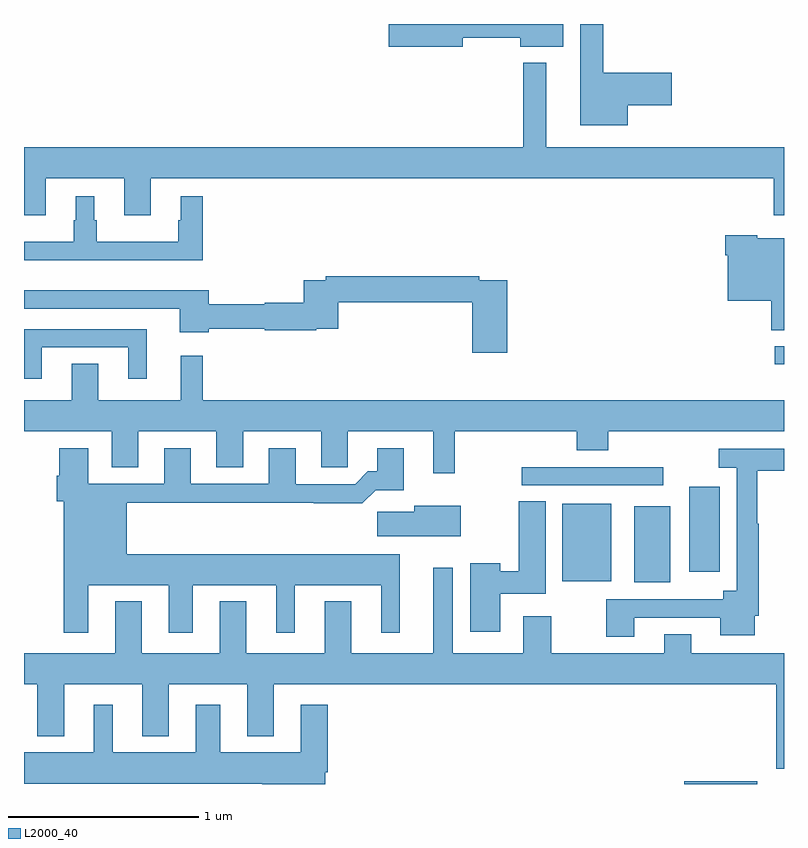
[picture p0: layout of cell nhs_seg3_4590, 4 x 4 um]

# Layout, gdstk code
import gdstk
lib = gdstk.Library(unit=1e-6, precision=1e-09)
def R(c, l, rs):  # rectangles x0, y0, x1, y1
    for r in rs: c.add(gdstk.rectangle(r[:2], r[2:], *l))
def P(c, l, *ps):  # polygons
    for p in ps: c.add(gdstk.Polygon(p, *l))
L2000_40 = (2000, 40)

nhs_seg3_4590 = lib.new_cell('nhs_seg3_4590')
R(nhs_seg3_4590, L2000_40, [(360.474,692.4,360.858,692.414), (360.212,693.461,360.4,693.862), (359.834,693.467,360.091,693.874), (360.5,693.516,360.661,693.964), (359.619,693.972,360.364,694.068), (360.951,694.608,361,694.704)])
P(nhs_seg3_4590, L2000_40, [(360.178,695.972),(360.409,695.972),(360.409,696.143),(360.049,696.143),(360.049,696.4),(359.927,696.4),(359.927,695.867),(360.178,695.867)],
  [(359.308,696.328),(359.612,696.328),(359.612,696.281),(359.839,696.281),(359.839,696.4),(358.92,696.4),(358.92,696.281),(359.308,696.281)],
  [(357.115,695.588),(357.527,695.588),(357.527,695.394),(357.667,695.394),(357.667,695.588),(360.947,695.588),(360.947,695.394),(361,695.394),(361,695.752),(359.749,695.752),(359.749,696.196),(359.628,696.196),(359.628,695.752),(357,695.752),(357,695.394),(357.115,695.394)],
  [(357.941,695.494),(357.824,695.494),(357.824,695.366),(357.813,695.366),(357.813,695.254),(357.382,695.254),(357.382,695.366),(357.37,695.366),(357.37,695.494),(357.272,695.494),(357.272,695.366),(357.261,695.366),(357.261,695.254),(357,695.254),(357,695.156),(357.941,695.156)],
  [(361,695.272),(360.858,695.272),(360.858,695.287),(360.692,695.287),(360.692,695.183),(360.704,695.183),(360.704,694.943),(360.932,694.943),(360.932,694.789),(361,694.789)],
  [(359.543,695.052),(359.396,695.052),(359.396,695.072),(358.588,695.072),(358.588,695.052),(358.472,695.052),(358.472,694.933),(358.266,694.933),(358.266,694.925),(357.972,694.925),(357.972,694.999),(357,694.999),(357,694.902),(357.821,694.902),(357.821,694.778),(357.972,694.778),(357.972,694.797),(358.266,694.797),(358.266,694.789),(358.538,694.789),(358.538,694.796),(358.655,694.796),(358.655,694.936),(359.36,694.936),(359.36,694.671),(359.543,694.671)],
  [(357.094,694.698),(357.548,694.698),(357.548,694.533),(357.647,694.533),(357.647,694.794),(357,694.794),(357,694.533),(357.094,694.533)],
  [(359.267,694.256),(359.909,694.256),(359.909,694.157),(360.074,694.157),(360.074,694.256),(361,694.256),(361,694.42),(357.941,694.42),(357.941,694.654),(357.824,694.654),(357.824,694.42),(357.391,694.42),(357.391,694.613),(357.251,694.613),(357.251,694.42),(357,694.42),(357,694.256),(357.461,694.256),(357.461,694.066),(357.601,694.066),(357.601,694.256),(358.013,694.256),(358.013,694.066),(358.153,694.066),(358.153,694.256),(358.565,694.256),(358.565,694.066),(358.704,694.066),(358.704,694.256),(359.153,694.256),(359.153,694.035),(359.267,694.035)],
  [(357.337,693.446),(357.761,693.446),(357.761,693.195),(357.889,693.195),(357.889,693.446),(358.328,693.446),(358.328,693.195),(358.426,693.195),(358.426,693.446),(358.88,693.446),(358.88,693.195),(358.978,693.195),(358.978,693.61),(357.541,693.61),(357.541,693.88),(358.525,693.88),(358.525,693.878),(358.781,693.878),(358.85,693.947),(358.999,693.947),(358.999,694.168),(358.859,694.168),(358.859,694.045),(358.81,694.045),(358.743,693.978),(358.429,693.978),(358.429,694.168),(358.289,694.168),(358.289,693.981),(357.877,693.981),(357.877,694.168),(357.737,694.168),(357.737,693.981),(357.337,693.981),(357.337,694.168),(357.185,694.168),(357.185,694.022),(357.173,694.022),(357.173,693.888),(357.209,693.888),(357.209,693.195),(357.337,693.195)],
  [(360.211,693.276),(360.665,693.276),(360.665,693.182),(360.847,693.182),(360.847,693.286),(360.866,693.286),(360.866,693.771),(360.859,693.771),(360.859,694.048),(361,694.048),(361,694.164),(360.657,694.164),(360.657,694.064),(360.75,694.064),(360.75,693.418),(360.68,693.418),(360.68,693.372),(360.064,693.372),(360.064,693.174),(360.211,693.174)],
  [(359.506,693.401),(359.746,693.401),(359.746,693.887),(359.605,693.887),(359.605,693.519),(359.506,693.519),(359.506,693.562),(359.348,693.562),(359.348,693.201),(359.506,693.201)],
  [(359.299,693.865),(359.054,693.865),(359.054,693.833),(358.86,693.833),(358.86,693.704),(359.299,693.704)],
  [(359.627,693.283),(359.627,693.088),(359.257,693.088),(359.257,693.538),(359.153,693.538),(359.153,693.088),(358.723,693.088),(358.723,693.361),(358.583,693.361),(358.583,693.088),(358.171,693.088),(358.171,693.361),(358.031,693.361),(358.031,693.088),(357.619,693.088),(357.619,693.361),(357.479,693.361),(357.479,693.088),(357,693.088),(357,692.924),(357.071,692.924),(357.071,692.651),(357.211,692.651),(357.211,692.924),(357.623,692.924),(357.623,692.651),(357.763,692.651),(357.763,692.924),(358.175,692.924),(358.175,692.651),(358.315,692.651),(358.315,692.924),(360.96,692.924),(360.96,692.48),(361,692.48),(361,693.088),(360.511,693.088),(360.511,693.187),(360.371,693.187),(360.371,693.088),(359.775,693.088),(359.775,693.283)],
  [(358.585,692.462),(358.598,692.462),(358.598,692.818),(358.457,692.818),(358.457,692.566),(358.033,692.566),(358.033,692.818),(357.905,692.818),(357.905,692.566),(357.466,692.566),(357.466,692.818),(357.368,692.818),(357.368,692.566),(357,692.566),(357,692.402),(358.253,692.402),(358.253,692.4),(358.585,692.4)])

lib.write_gds('nhs_seg3_4590.gds')
